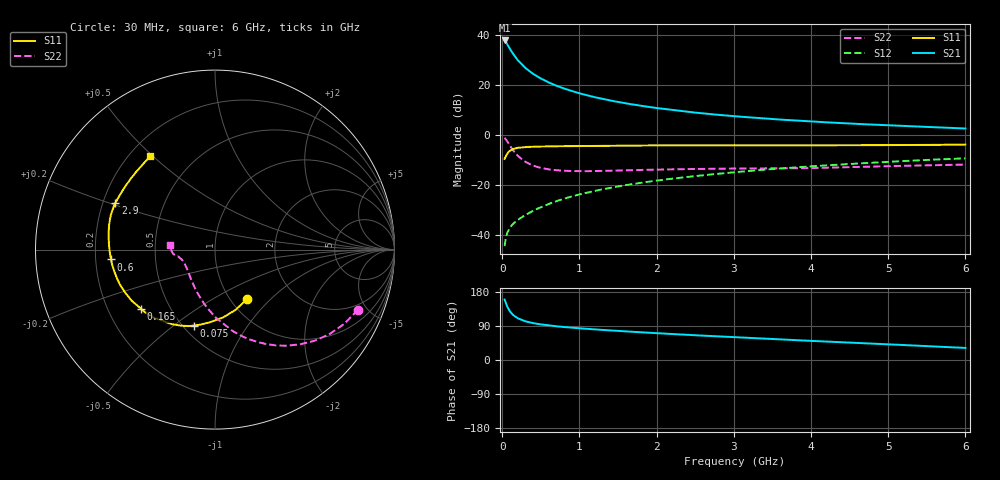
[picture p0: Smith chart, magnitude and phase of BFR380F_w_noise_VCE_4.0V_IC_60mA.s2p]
! Infineon Technologies  Discrete & RF Semiconductors
! BFR380F
! VCE =  4.0 V,  IC =  60 mA
! Common Emitter S-Parameters:  Nov 2015
# GHz  S  MA  R  50
!  f  S11  S21  S12  S22
! GHz  MAG  ANG  MAG  ANG  MAG  ANG  MAG  ANG
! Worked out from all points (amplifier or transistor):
!   206 points, 30 MHz to 6 GHz, reference 50 ohm
!   highest |S21| = 37.6 dB at 30 MHz (marker M1)
!   |S21| within 3 dB of that: start of sweep to 92.18 MHz
!   unconditionally stable (mu >= 1): 795.8 MHz to 4.79 GHz
!   at 200 MHz: K = 0.66, MSG = 31.9 dB, |S12| = -34.1 dB
!   at 1.56 GHz: K = 1.04, MAG = 15.4 dB, |S12| = -20.4 dB
!   at 6 GHz: K = 0.98, MSG = 6.0 dB, |S12| = -9.5 dB
!   lowest NFmin = 1.67 dB at 900 MHz
!   S11 on the Smith chart (normalised r, x): 30 MHz: 1.19, -0.73; 75 MHz: 0.56, -0.59; 165 MHz: 0.34, -0.31; 600 MHz: 0.26, -0.04; 2.9 GHz: 0.25, +0.21; 6 GHz: 0.28, +0.49
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0.03  0.3286 -57.0  76.17 159.6  0.0059 76.5  0.8644 -22.8
0.04  0.3548 -71.2  72.97 153.6  0.0075 73.6  0.8303 -29.9
0.05  0.3809 -83.2  69.55 147.7  0.009 69.9  0.7922 -36.6
0.065  0.4168 -98.3  63.62 140.7  0.0109 65.3  0.7292 -45.3
0.075  0.4393 -105.6  59.94 136.6  0.0118 63.2  0.6887 -50.5
0.1  0.4799 -120.1  51.44 128.2  0.0139 60.1  0.5979 -61.6
0.12  0.4973 -128.5  45.81 123.1  0.0153 58.4  0.5366 -68.9
0.145  0.5192 -136.6  40.05 118.0  0.0168 57.4  0.4747 -76.4
0.165  0.5276 -141.3  36.48 115.3  0.0179 57.6  0.4368 -80.8
0.2  0.5448 -148.6  30.79 110.1  0.0197 58.0  0.3793 -89.3
0.24  0.5534 -153.8  26.45 106.6  0.0217 59.3  0.3343 -96.3
0.3  0.5648 -160.1  21.47 102.1  0.0248 61.3  0.2862 -105.8
0.45  0.5762 -169.2  14.62 95.4  0.0328 65.7  0.2269 -122.6
0.6  0.5823 -174.6  11.05 91.2  0.0411 68.5  0.2024 -134.3
0.8  0.5874 -179.6  8.331 87.0  0.0524 70.7  0.1895 -145.0
1.04  0.5929 176.0  6.444 83.1  0.0661 71.9  0.1861 -153.3
2.02  0.6098 163.5  3.37 70.6  0.1217 71.2  0.1998 -166.1
2.9  0.6131 155.0  2.407 61.3  0.1709 68.5  0.2094 -169.5
3.1  0.6122 153.2  2.274 59.4  0.1822 67.6  0.2102 -169.6
4.1  0.6119 143.5  1.796 49.6  0.2379 63.1  0.2162 -170.2
5.1  0.6175 134.5  1.512 40.4  0.2912 58.1  0.2361 -175.2
6  0.6337 124.8  1.326 31.9  0.3357 52.7  0.2525 174.4
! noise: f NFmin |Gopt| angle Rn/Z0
0.45  1.68  0.45  -175  0.08
0.9  1.67  0.47  -173  0.07
1.8  1.88  0.51  -161  0.1
1.9  1.99  0.51  -161  0.1
2.4  2.04  0.52  -152  0.13
3.5  2.67  0.55  -142  0.23
